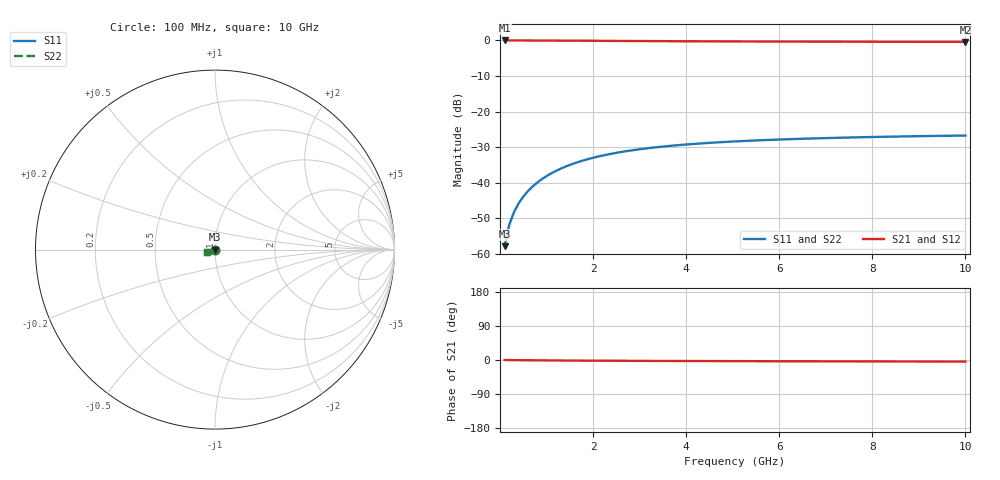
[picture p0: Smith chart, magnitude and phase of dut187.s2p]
! Touchstone file exported from HFSS 2024.1.0
!  File:  C:/UserFiles/LocalFiles/RDL_TSV_Batchsim/temp_TSV1_187_1778756659.aedt
!  Generated:  07:08:11 PM May 14, 2026
!  Design:  TSV1
!  Project:  temp_TSV1_187_1778756659
!  Setup:  Setup1
!  Solution:  Sweep
! Variables:
!  dtsv = 13.2um
!  hbump = 3um
!  htsv = 62.4um
!  lrdl = 252.1521522um
!  p = 40
!  p1 = 47.47um
!  t = 500um
!  trdl = 3um
!  wrdl = 24.89489489um
# GHz S MA R 50.000000
! Terminal data exported
! Port[1] = TSV22_T1
! Port[2] = TSV22_T2
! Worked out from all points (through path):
!   100 points, 100 MHz to 10 GHz, reference 50 ohm
!   highest |S21| = 0.00 dB at 100 MHz (marker M1); lowest = -0.4 dB at 10 GHz (marker M2)
!   lowest |S11| = -57.8 dB at 100 MHz (marker M3), VSWR 1.00, Z = 50 - j0.129 ohm
!   |S11| at or under -10 dB: start of sweep to end of sweep
!   |S22| runs from -57.8 to -26.7 dB; largest |S21 - S12| = 4e-15
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0.1  0.001286 -88.2  0.9999 -0.1  0.9999 -0.1  0.001286 -88.2
! Gamma 0 0 0 0
! Port Impedance 50 0 50 0
0.2  0.002567 -91.7  0.9998 -0.2  0.9998 -0.2  0.002567 -91.7
0.3  0.003845 -93.9  0.9996 -0.3  0.9996 -0.3  0.003845 -93.9
0.4  0.005117 -95.9  0.9993 -0.4  0.9993 -0.4  0.005117 -95.9
0.5  0.006377 -97.7  0.999 -0.5  0.999 -0.5  0.006377 -97.7
0.6  0.007624 -99.4  0.9986 -0.6  0.9986 -0.6  0.007624 -99.4
0.7  0.008853 -101.0  0.9981 -0.7  0.9981 -0.7  0.008853 -101.0
0.8  0.01006 -102.6  0.9976 -0.8  0.9976 -0.8  0.01006 -102.6
0.9  0.01125 -104.2  0.997 -0.9  0.997 -0.9  0.01125 -104.2
1.1  0.01355 -107.3  0.9957 -1.1  0.9957 -1.1  0.01355 -107.3
1.4  0.01679 -111.6  0.9935 -1.4  0.9935 -1.4  0.01679 -111.6
1.6  0.0188 -114.4  0.992 -1.5  0.992 -1.5  0.0188 -114.4
1.8  0.02069 -117.0  0.9903 -1.7  0.9903 -1.7  0.02069 -117.0
2.1  0.02329 -120.7  0.9879 -1.9  0.9879 -1.9  0.02329 -120.7
2.5  0.02635 -125.2  0.9847 -2.1  0.9847 -2.1  0.02635 -125.2
2.9  0.02898 -129.2  0.9816 -2.3  0.9816 -2.3  0.02898 -129.2
3.4  0.03177 -133.6  0.9781 -2.5  0.9781 -2.5  0.03177 -133.6
4.2  0.03529 -139.6  0.9731 -2.8  0.9731 -2.8  0.03529 -139.6
5.1  0.03826 -144.9  0.9686 -3.0  0.9686 -3.0  0.03826 -145.0
6.7  0.04193 -152.3  0.9627 -3.4  0.9627 -3.4  0.04193 -152.3
8.4  0.04448 -158.2  0.9584 -3.8  0.9584 -3.8  0.04448 -158.2
10  0.04613 -162.6  0.9555 -4.2  0.9555 -4.2  0.04613 -162.6
